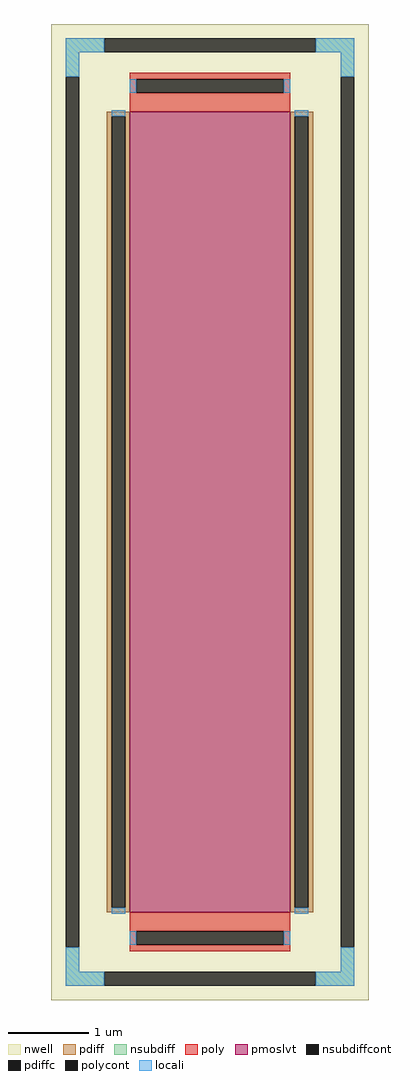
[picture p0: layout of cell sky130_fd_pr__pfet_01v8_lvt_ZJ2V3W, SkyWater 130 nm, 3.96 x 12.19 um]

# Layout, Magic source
magic
tech sky130A
magscale 1 2
<< nwell >>
rect -396 -1219 396 1219
<< pmoslvt >>
rect -200 -1000 200 1000
<< pdiff >>
rect -258 988 -200 1000
rect -258 -988 -246 988
rect -212 -988 -200 988
rect -258 -1000 -200 -988
rect 200 988 258 1000
rect 200 -988 212 988
rect 246 -988 258 988
rect 200 -1000 258 -988
<< pdiffc >>
rect -246 -988 -212 988
rect 212 -988 246 988
<< nsubdiff >>
rect -360 1149 -264 1183
rect 264 1149 360 1183
rect -360 1087 -326 1149
rect 326 1087 360 1149
rect -360 -1149 -326 -1087
rect 326 -1149 360 -1087
rect -360 -1183 -264 -1149
rect 264 -1183 360 -1149
<< nsubdiffcont >>
rect -264 1149 264 1183
rect -360 -1087 -326 1087
rect 326 -1087 360 1087
rect -264 -1183 264 -1149
<< poly >>
rect -200 1081 200 1097
rect -200 1047 -184 1081
rect 184 1047 200 1081
rect -200 1000 200 1047
rect -200 -1047 200 -1000
rect -200 -1081 -184 -1047
rect 184 -1081 200 -1047
rect -200 -1097 200 -1081
<< polycont >>
rect -184 1047 184 1081
rect -184 -1081 184 -1047
<< locali >>
rect -360 1149 -264 1183
rect 264 1149 360 1183
rect -360 1087 -326 1149
rect 326 1087 360 1149
rect -200 1047 -184 1081
rect 184 1047 200 1081
rect -246 988 -212 1004
rect -246 -1004 -212 -988
rect 212 988 246 1004
rect 212 -1004 246 -988
rect -200 -1081 -184 -1047
rect 184 -1081 200 -1047
rect -360 -1149 -326 -1087
rect 326 -1149 360 -1087
rect -360 -1183 -264 -1149
rect 264 -1183 360 -1149
<< properties >>
string gencell sky130_fd_pr__pfet_01v8_lvt
string FIXED_BBOX -343 -1166 343 1166
string parameters w 10 l 2 m 1 nf 1 diffcov 100 polycov 100 guard 1 glc 1 grc 1 gtc 1 gbc 1 tbcov 100 rlcov 100 topc 1 botc 1 poverlap 0 doverlap 1 lmin 0.35 wmin 0.42 compatible {sky130_fd_pr__pfet_01v8  sky130_fd_pr__pfet_01v8_lvt sky130_fd_pr__pfet_01v8_hvt  sky130_fd_pr__pfet_g5v0d10v5} full_metal 1
string library sky130
<< end >>
